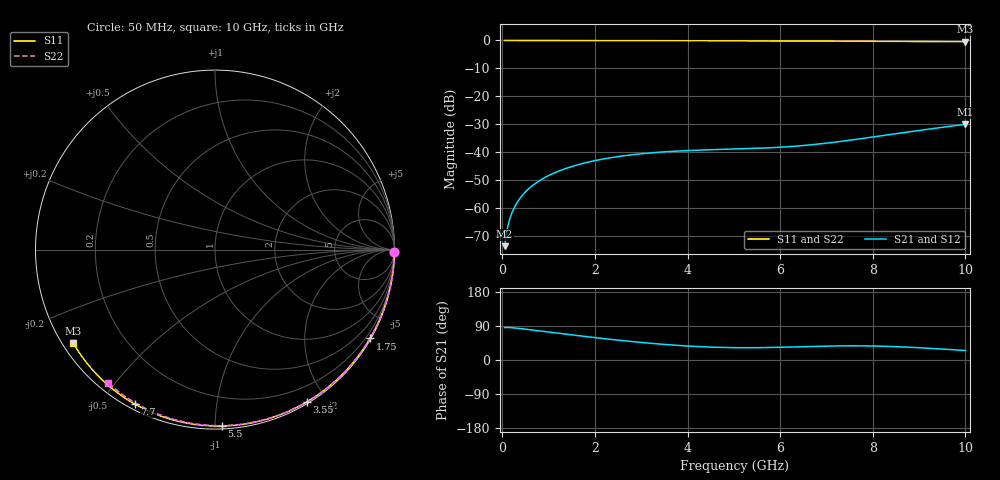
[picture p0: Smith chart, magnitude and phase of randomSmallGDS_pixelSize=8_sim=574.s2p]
! freq	dB(S11)	phase(S11)	dB(S12)	phase(S12)
!  dB(S21)	phase(S21)	dB(S22)	phase(S22)
!S-par simulation data
#  GHz  S  DB  R 50
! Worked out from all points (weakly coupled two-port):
!   200 points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, 50 MHz to 10 GHz, reference 50 ohm
!   highest |S21| = -30.08 dB at 10 GHz (marker M1); lowest = -73.8 dB at 50 MHz (marker M2)
!   lowest |S11| = -0.5 dB at 10 GHz (marker M3), VSWR 35.81, Z = 1.52 - j15 ohm
!   |S11| at or under -10 dB: nowhere
!   |S22| runs from -0.4 to 0.0 dB; largest |S21 - S12| = 0
!   S11 on the Smith chart (normalised r, x): 50 MHz: open; 1.75 GHz: 0.03, -3.76; 3.55 GHz: 0.02, -1.77; 5.5 GHz: 0.02, -1.04; 7.7 GHz: 0.02, -0.61; 10 GHz: 0.03, -0.30
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0.05  -0.00 -0.9  -73.79 85.8  -73.79 85.8  -0.00 -0.8
0.1  -0.00 -1.7  -68.06 85.8  -68.06 85.8  -0.00 -1.5
0.15  -0.00 -2.6  -64.64 85.7  -64.64 85.7  -0.00 -2.3
0.2  -0.00 -3.5  -62.18 85.3  -62.18 85.3  -0.00 -3.0
0.25  -0.00 -4.3  -60.27 84.8  -60.27 84.8  -0.00 -3.8
0.35  -0.00 -6.1  -57.37 83.5  -57.37 83.5  -0.00 -5.3
0.5  -0.01 -8.6  -54.31 81.4  -54.31 81.4  -0.01 -7.5
0.7  -0.01 -12.1  -51.45 78.4  -51.45 78.4  -0.01 -10.5
1  -0.02 -17.2  -48.46 73.8  -48.46 73.8  -0.02 -15.0
1.35  -0.03 -23.1  -46.04 68.6  -46.04 68.6  -0.03 -20.1
1.75  -0.04 -29.8  -44.06 62.7  -44.06 62.7  -0.03 -26.0
2.5  -0.05 -42.1  -41.64 52.4  -41.64 52.4  -0.05 -36.8
3.4  -0.08 -56.5  -40.07 42.1  -40.07 42.1  -0.07 -49.4
3.55  -0.08 -58.8  -39.90 40.6  -39.90 40.6  -0.07 -51.5
4.3  -0.10 -70.3  -39.31 35.1  -39.31 35.1  -0.09 -61.6
5.05  -0.12 -81.3  -38.95 32.5  -38.95 32.5  -0.11 -71.4
5.5  -0.14 -87.7  -38.70 32.5  -38.70 32.5  -0.12 -77.1
6.7  -0.20 -104.2  -37.37 36.0  -37.37 36.0  -0.18 -91.8
7.7  -0.27 -117.4  -35.34 37.4  -35.34 37.4  -0.23 -103.4
8.35  -0.32 -125.8  -33.80 35.8  -33.80 35.8  -0.28 -110.8
9.2  -0.40 -136.5  -31.82 31.1  -31.82 31.1  -0.35 -120.2
10  -0.49 -146.7  -30.08 25.0  -30.08 25.0  -0.43 -128.8
